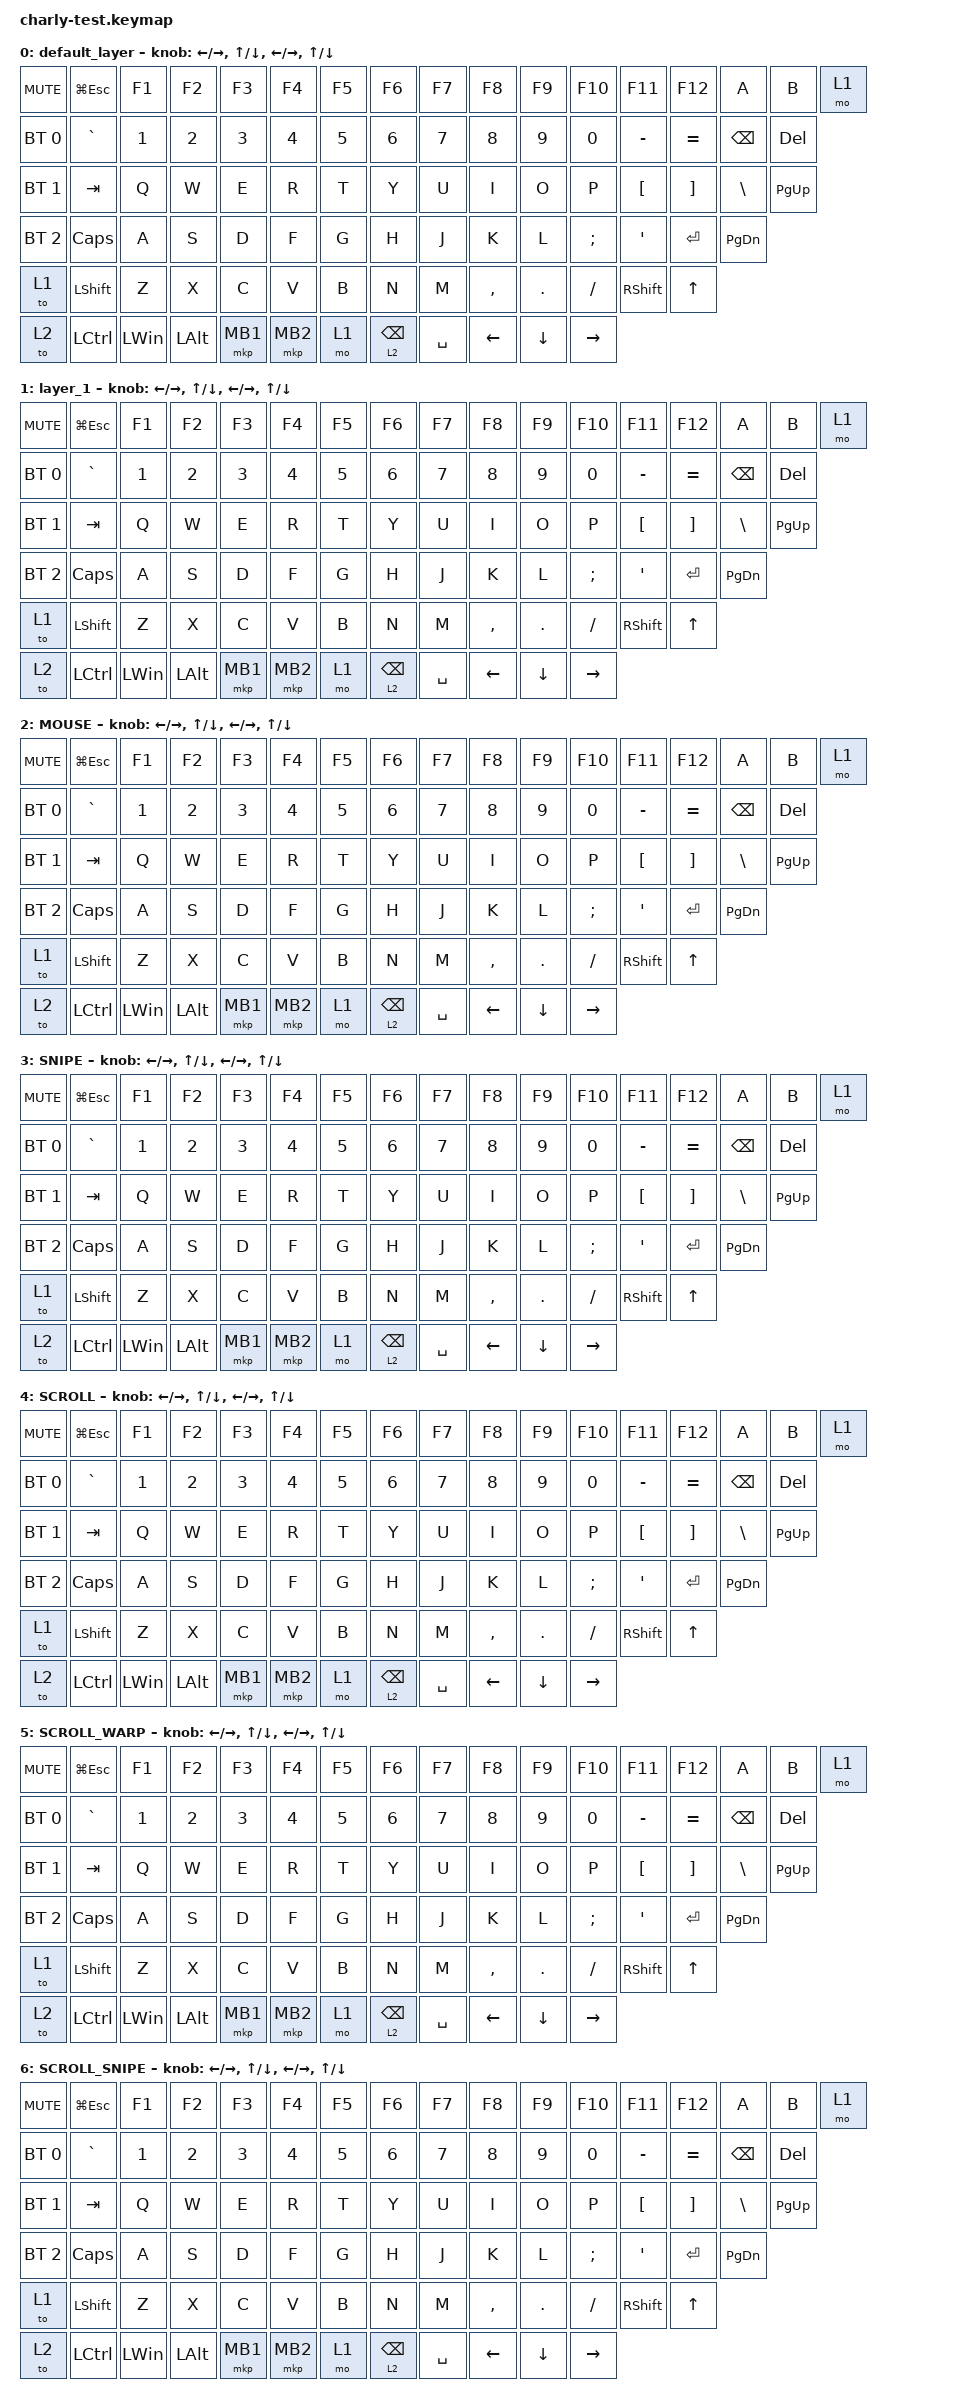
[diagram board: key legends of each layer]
#include <behaviors.dtsi>
#include <dt-bindings/zmk/bt.h>
#include <dt-bindings/zmk/keys.h>
#include <dt-bindings/zmk/outputs.h>

#define ZMK_POINTING_DEFAULT_MOVE_VAL 800
#define ZMK_POINTING_DEFAULT_SCRL_VAL 120
#include <dt-bindings/zmk/pointing.h>

#include <input/processors.dtsi>

#include <dt-bindings/zmk/input_transform.h>

#include <zephyr/dt-bindings/input/input-event-codes.h>

/ {
    keymap {
        compatible = "zmk,keymap";

        default_layer {
            bindings = <
&kp C_MUTE    &kp LG(ESCAPE)  &kp F1        &kp F2        &kp F3        &kp F4        &kp F5  &kp F6           &kp F7     &kp F8     &kp F9      &kp F10          &kp F11           &kp F12            &kp A          &kp B      &mo 1
&bt BT_SEL 0  &kp GRAVE       &kp NUMBER_1  &kp NUMBER_2  &kp NUMBER_3  &kp NUMBER_4  &kp N5  &kp NUMBER_6     &kp N7     &kp N8     &kp N9      &kp N0           &kp MINUS         &kp EQUAL          &kp BACKSPACE  &kp DEL
&bt BT_SEL 1  &kp TAB         &kp Q         &kp W         &kp E         &kp R         &kp T   &kp Y            &kp U      &kp I      &kp O       &kp P            &kp LEFT_BRACKET  &kp RIGHT_BRACKET  &kp BACKSLASH  &kp PG_UP
&bt BT_SEL 2  &kp CAPSLOCK    &kp A         &kp S         &kp D         &kp F         &kp G   &kp H            &kp J      &kp K      &kp L       &kp SEMICOLON    &kp SQT           &kp ENTER          &kp PAGE_DOWN
&to 1         &kp LEFT_SHIFT  &kp Z         &kp X         &kp C         &kp V         &kp B   &kp N            &kp M      &kp COMMA  &kp PERIOD  &kp SLASH        &kp RSHIFT        &kp UP_ARROW
&to 2         &kp LCTRL       &kp LEFT_WIN  &kp LEFT_ALT  &mkp MB1      &mkp MB2      &mo 1   &lt 2 BACKSPACE  &kp SPACE  &kp LEFT   &kp DOWN    &kp RIGHT_ARROW
            >;

            sensor-bindings = <
                &inc_dec_kp LEFT_ARROW RIGHT_ARROW
                &inc_dec_kp UP_ARROW   DOWN_ARROW
                &inc_dec_kp LEFT_ARROW RIGHT_ARROW
                &inc_dec_kp UP_ARROW   DOWN_ARROW
            >;
        };

        layer_1 {
            bindings = <
&kp C_MUTE    &kp LG(ESCAPE)  &kp F1        &kp F2        &kp F3        &kp F4        &kp F5  &kp F6           &kp F7     &kp F8     &kp F9      &kp F10          &kp F11           &kp F12            &kp A          &kp B      &mo 1
&bt BT_SEL 0  &kp GRAVE       &kp NUMBER_1  &kp NUMBER_2  &kp NUMBER_3  &kp NUMBER_4  &kp N5  &kp NUMBER_6     &kp N7     &kp N8     &kp N9      &kp N0           &kp MINUS         &kp EQUAL          &kp BACKSPACE  &kp DEL
&bt BT_SEL 1  &kp TAB         &kp Q         &kp W         &kp E         &kp R         &kp T   &kp Y            &kp U      &kp I      &kp O       &kp P            &kp LEFT_BRACKET  &kp RIGHT_BRACKET  &kp BACKSLASH  &kp PG_UP
&bt BT_SEL 2  &kp CAPSLOCK    &kp A         &kp S         &kp D         &kp F         &kp G   &kp H            &kp J      &kp K      &kp L       &kp SEMICOLON    &kp SQT           &kp ENTER          &kp PAGE_DOWN
&to 1         &kp LEFT_SHIFT  &kp Z         &kp X         &kp C         &kp V         &kp B   &kp N            &kp M      &kp COMMA  &kp PERIOD  &kp SLASH        &kp RSHIFT        &kp UP_ARROW
&to 2         &kp LCTRL       &kp LEFT_WIN  &kp LEFT_ALT  &mkp MB1      &mkp MB2      &mo 1   &lt 2 BACKSPACE  &kp SPACE  &kp LEFT   &kp DOWN    &kp RIGHT_ARROW
            >;

            sensor-bindings = <
                &inc_dec_kp LEFT_ARROW RIGHT_ARROW
                &inc_dec_kp UP_ARROW   DOWN_ARROW
                &inc_dec_kp LEFT_ARROW RIGHT_ARROW
                &inc_dec_kp UP_ARROW   DOWN_ARROW
            >;
        };

        MOUSE {
            bindings = <
&kp C_MUTE    &kp LG(ESCAPE)  &kp F1        &kp F2        &kp F3        &kp F4        &kp F5  &kp F6           &kp F7     &kp F8     &kp F9      &kp F10          &kp F11           &kp F12            &kp A          &kp B      &mo 1
&bt BT_SEL 0  &kp GRAVE       &kp NUMBER_1  &kp NUMBER_2  &kp NUMBER_3  &kp NUMBER_4  &kp N5  &kp NUMBER_6     &kp N7     &kp N8     &kp N9      &kp N0           &kp MINUS         &kp EQUAL          &kp BACKSPACE  &kp DEL
&bt BT_SEL 1  &kp TAB         &kp Q         &kp W         &kp E         &kp R         &kp T   &kp Y            &kp U      &kp I      &kp O       &kp P            &kp LEFT_BRACKET  &kp RIGHT_BRACKET  &kp BACKSLASH  &kp PG_UP
&bt BT_SEL 2  &kp CAPSLOCK    &kp A         &kp S         &kp D         &kp F         &kp G   &kp H            &kp J      &kp K      &kp L       &kp SEMICOLON    &kp SQT           &kp ENTER          &kp PAGE_DOWN
&to 1         &kp LEFT_SHIFT  &kp Z         &kp X         &kp C         &kp V         &kp B   &kp N            &kp M      &kp COMMA  &kp PERIOD  &kp SLASH        &kp RSHIFT        &kp UP_ARROW
&to 2         &kp LCTRL       &kp LEFT_WIN  &kp LEFT_ALT  &mkp MB1      &mkp MB2      &mo 1   &lt 2 BACKSPACE  &kp SPACE  &kp LEFT   &kp DOWN    &kp RIGHT_ARROW
            >;

            sensor-bindings = <
                &inc_dec_kp LEFT_ARROW RIGHT_ARROW
                &inc_dec_kp UP_ARROW   DOWN_ARROW
                &inc_dec_kp LEFT_ARROW RIGHT_ARROW
                &inc_dec_kp UP_ARROW   DOWN_ARROW
            >;
        };

        SNIPE {
            bindings = <
&kp C_MUTE    &kp LG(ESCAPE)  &kp F1        &kp F2        &kp F3        &kp F4        &kp F5  &kp F6           &kp F7     &kp F8     &kp F9      &kp F10          &kp F11           &kp F12            &kp A          &kp B      &mo 1
&bt BT_SEL 0  &kp GRAVE       &kp NUMBER_1  &kp NUMBER_2  &kp NUMBER_3  &kp NUMBER_4  &kp N5  &kp NUMBER_6     &kp N7     &kp N8     &kp N9      &kp N0           &kp MINUS         &kp EQUAL          &kp BACKSPACE  &kp DEL
&bt BT_SEL 1  &kp TAB         &kp Q         &kp W         &kp E         &kp R         &kp T   &kp Y            &kp U      &kp I      &kp O       &kp P            &kp LEFT_BRACKET  &kp RIGHT_BRACKET  &kp BACKSLASH  &kp PG_UP
&bt BT_SEL 2  &kp CAPSLOCK    &kp A         &kp S         &kp D         &kp F         &kp G   &kp H            &kp J      &kp K      &kp L       &kp SEMICOLON    &kp SQT           &kp ENTER          &kp PAGE_DOWN
&to 1         &kp LEFT_SHIFT  &kp Z         &kp X         &kp C         &kp V         &kp B   &kp N            &kp M      &kp COMMA  &kp PERIOD  &kp SLASH        &kp RSHIFT        &kp UP_ARROW
&to 2         &kp LCTRL       &kp LEFT_WIN  &kp LEFT_ALT  &mkp MB1      &mkp MB2      &mo 1   &lt 2 BACKSPACE  &kp SPACE  &kp LEFT   &kp DOWN    &kp RIGHT_ARROW
            >;

            sensor-bindings = <
                &inc_dec_kp LEFT_ARROW RIGHT_ARROW
                &inc_dec_kp UP_ARROW   DOWN_ARROW
                &inc_dec_kp LEFT_ARROW RIGHT_ARROW
                &inc_dec_kp UP_ARROW   DOWN_ARROW
            >;
        };

        SCROLL {
            bindings = <
&kp C_MUTE    &kp LG(ESCAPE)  &kp F1        &kp F2        &kp F3        &kp F4        &kp F5  &kp F6           &kp F7     &kp F8     &kp F9      &kp F10          &kp F11           &kp F12            &kp A          &kp B      &mo 1
&bt BT_SEL 0  &kp GRAVE       &kp NUMBER_1  &kp NUMBER_2  &kp NUMBER_3  &kp NUMBER_4  &kp N5  &kp NUMBER_6     &kp N7     &kp N8     &kp N9      &kp N0           &kp MINUS         &kp EQUAL          &kp BACKSPACE  &kp DEL
&bt BT_SEL 1  &kp TAB         &kp Q         &kp W         &kp E         &kp R         &kp T   &kp Y            &kp U      &kp I      &kp O       &kp P            &kp LEFT_BRACKET  &kp RIGHT_BRACKET  &kp BACKSLASH  &kp PG_UP
&bt BT_SEL 2  &kp CAPSLOCK    &kp A         &kp S         &kp D         &kp F         &kp G   &kp H            &kp J      &kp K      &kp L       &kp SEMICOLON    &kp SQT           &kp ENTER          &kp PAGE_DOWN
&to 1         &kp LEFT_SHIFT  &kp Z         &kp X         &kp C         &kp V         &kp B   &kp N            &kp M      &kp COMMA  &kp PERIOD  &kp SLASH        &kp RSHIFT        &kp UP_ARROW
&to 2         &kp LCTRL       &kp LEFT_WIN  &kp LEFT_ALT  &mkp MB1      &mkp MB2      &mo 1   &lt 2 BACKSPACE  &kp SPACE  &kp LEFT   &kp DOWN    &kp RIGHT_ARROW
            >;

            sensor-bindings = <
                &inc_dec_kp LEFT_ARROW RIGHT_ARROW
                &inc_dec_kp UP_ARROW   DOWN_ARROW
                &inc_dec_kp LEFT_ARROW RIGHT_ARROW
                &inc_dec_kp UP_ARROW   DOWN_ARROW
            >;
        };

        SCROLL_WARP {
            bindings = <
&kp C_MUTE    &kp LG(ESCAPE)  &kp F1        &kp F2        &kp F3        &kp F4        &kp F5  &kp F6           &kp F7     &kp F8     &kp F9      &kp F10          &kp F11           &kp F12            &kp A          &kp B      &mo 1
&bt BT_SEL 0  &kp GRAVE       &kp NUMBER_1  &kp NUMBER_2  &kp NUMBER_3  &kp NUMBER_4  &kp N5  &kp NUMBER_6     &kp N7     &kp N8     &kp N9      &kp N0           &kp MINUS         &kp EQUAL          &kp BACKSPACE  &kp DEL
&bt BT_SEL 1  &kp TAB         &kp Q         &kp W         &kp E         &kp R         &kp T   &kp Y            &kp U      &kp I      &kp O       &kp P            &kp LEFT_BRACKET  &kp RIGHT_BRACKET  &kp BACKSLASH  &kp PG_UP
&bt BT_SEL 2  &kp CAPSLOCK    &kp A         &kp S         &kp D         &kp F         &kp G   &kp H            &kp J      &kp K      &kp L       &kp SEMICOLON    &kp SQT           &kp ENTER          &kp PAGE_DOWN
&to 1         &kp LEFT_SHIFT  &kp Z         &kp X         &kp C         &kp V         &kp B   &kp N            &kp M      &kp COMMA  &kp PERIOD  &kp SLASH        &kp RSHIFT        &kp UP_ARROW
&to 2         &kp LCTRL       &kp LEFT_WIN  &kp LEFT_ALT  &mkp MB1      &mkp MB2      &mo 1   &lt 2 BACKSPACE  &kp SPACE  &kp LEFT   &kp DOWN    &kp RIGHT_ARROW
            >;

            sensor-bindings = <
                &inc_dec_kp LEFT_ARROW RIGHT_ARROW
                &inc_dec_kp UP_ARROW   DOWN_ARROW
                &inc_dec_kp LEFT_ARROW RIGHT_ARROW
                &inc_dec_kp UP_ARROW   DOWN_ARROW
            >;
        };

        SCROLL_SNIPE {
            bindings = <
&kp C_MUTE    &kp LG(ESCAPE)  &kp F1        &kp F2        &kp F3        &kp F4        &kp F5  &kp F6           &kp F7     &kp F8     &kp F9      &kp F10          &kp F11           &kp F12            &kp A          &kp B      &mo 1
&bt BT_SEL 0  &kp GRAVE       &kp NUMBER_1  &kp NUMBER_2  &kp NUMBER_3  &kp NUMBER_4  &kp N5  &kp NUMBER_6     &kp N7     &kp N8     &kp N9      &kp N0           &kp MINUS         &kp EQUAL          &kp BACKSPACE  &kp DEL
&bt BT_SEL 1  &kp TAB         &kp Q         &kp W         &kp E         &kp R         &kp T   &kp Y            &kp U      &kp I      &kp O       &kp P            &kp LEFT_BRACKET  &kp RIGHT_BRACKET  &kp BACKSLASH  &kp PG_UP
&bt BT_SEL 2  &kp CAPSLOCK    &kp A         &kp S         &kp D         &kp F         &kp G   &kp H            &kp J      &kp K      &kp L       &kp SEMICOLON    &kp SQT           &kp ENTER          &kp PAGE_DOWN
&to 1         &kp LEFT_SHIFT  &kp Z         &kp X         &kp C         &kp V         &kp B   &kp N            &kp M      &kp COMMA  &kp PERIOD  &kp SLASH        &kp RSHIFT        &kp UP_ARROW
&to 2         &kp LCTRL       &kp LEFT_WIN  &kp LEFT_ALT  &mkp MB1      &mkp MB2      &mo 1   &lt 2 BACKSPACE  &kp SPACE  &kp LEFT   &kp DOWN    &kp RIGHT_ARROW
            >;

            sensor-bindings = <
                &inc_dec_kp LEFT_ARROW RIGHT_ARROW
                &inc_dec_kp UP_ARROW   DOWN_ARROW
                &inc_dec_kp LEFT_ARROW RIGHT_ARROW
                &inc_dec_kp UP_ARROW   DOWN_ARROW
            >;
        };
    };
};
